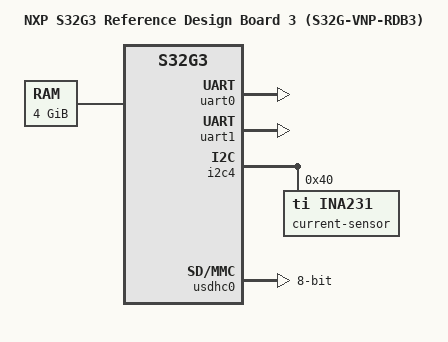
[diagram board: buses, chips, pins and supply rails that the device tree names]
// SPDX-License-Identifier: (GPL-2.0+ OR BSD-3-Clause)
/*
 * Copyright 2021-2024 NXP
 *
 * NXP S32G3 Reference Design Board 3 (S32G-VNP-RDB3)
 */

/dts-v1/;

#include "s32g3.dtsi"
#include "s32gxxxa-rdb.dtsi"

/ {
	model = "NXP S32G3 Reference Design Board 3 (S32G-VNP-RDB3)";
	compatible = "nxp,s32g399a-rdb3", "nxp,s32g3";

	aliases {
		mmc0 = &usdhc0;
		serial0 = &uart0;
		serial1 = &uart1;
	};

	chosen {
		stdout-path = "serial0:115200n8";
	};

	/* 4GiB RAM */
	memory@80000000 {
		device_type = "memory";
		reg = <0x0 0x80000000 0 0x80000000>,
		      <0x8 0x80000000 0 0x80000000>;
	};
};

&uart0 {
	status = "okay";
};

&uart1 {
	status = "okay";
};

&i2c4 {
	current-sensor@40 {
		compatible = "ti,ina231";
		reg = <0x40>;
		shunt-resistor = <1000>;
	};
};

&usdhc0 {
	pinctrl-names = "default", "state_100mhz", "state_200mhz";
	pinctrl-0 = <&pinctrl_usdhc0>;
	pinctrl-1 = <&pinctrl_usdhc0_100mhz>;
	pinctrl-2 = <&pinctrl_usdhc0_200mhz>;
	bus-width = <8>;
	disable-wp;
	status = "okay";
};
